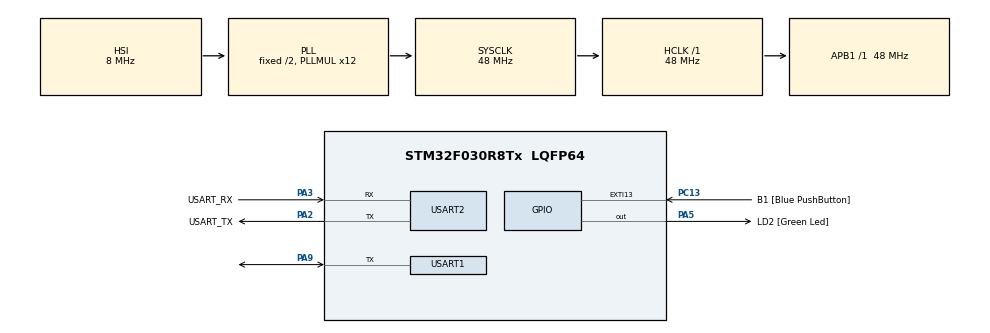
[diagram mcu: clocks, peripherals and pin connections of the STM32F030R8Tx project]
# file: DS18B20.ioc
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Dma.Request0=USART1_RX
Dma.Request1=USART1_TX
Dma.USART1_RX.0.Direction=DMA_PERIPH_TO_MEMORY
Dma.USART1_RX.0.Instance=DMA1_Channel3
Dma.USART1_RX.0.MemDataAlignment=DMA_MDATAALIGN_BYTE
Dma.USART1_RX.0.MemInc=DMA_MINC_ENABLE
Dma.USART1_RX.0.Mode=DMA_NORMAL
Dma.USART1_RX.0.PeriphDataAlignment=DMA_PDATAALIGN_BYTE
Dma.USART1_RX.0.PeriphInc=DMA_PINC_DISABLE
Dma.USART1_RX.0.Priority=DMA_PRIORITY_LOW
Dma.USART1_TX.1.Direction=DMA_MEMORY_TO_PERIPH
Dma.USART1_TX.1.Instance=DMA1_Channel2
Dma.USART1_TX.1.MemDataAlignment=DMA_MDATAALIGN_BYTE
Dma.USART1_TX.1.MemInc=DMA_MINC_ENABLE
Dma.USART1_TX.1.Mode=DMA_NORMAL
Dma.USART1_TX.1.PeriphDataAlignment=DMA_PDATAALIGN_BYTE
Dma.USART1_TX.1.PeriphInc=DMA_PINC_DISABLE
Dma.USART1_TX.1.Priority=DMA_PRIORITY_LOW
Mcu.Family=STM32F0
Mcu.Name=STM32F030R8Tx
Mcu.Package=LQFP64
NVIC.DMA1_Channel2_3_IRQn=true\:0\:0\:false\:false\:true\:false\:true\:true
NVIC.USART1_IRQn=true\:0\:0\:false\:false\:true\:true\:true\:true
PA13.GPIO_Label=TMS
PA13.Mode=Serial_Wire
PA13.Signal=SYS_SWDIO
PA14.GPIO_Label=TCK
PA14.Mode=Serial_Wire
PA14.Signal=SYS_SWCLK
PA2.GPIO_Label=USART_TX
PA2.GPIO_Mode=GPIO_MODE_AF_PP
PA2.GPIO_PuPd=GPIO_NOPULL
PA2.GPIO_Speed=GPIO_SPEED_FREQ_LOW
PA2.Mode=Asynchronous
PA2.Signal=USART2_TX
PA3.GPIO_Label=USART_RX
PA3.GPIO_Mode=GPIO_MODE_AF_PP
PA3.GPIO_PuPd=GPIO_NOPULL
PA3.GPIO_Speed=GPIO_SPEED_FREQ_LOW
PA3.Mode=Asynchronous
PA3.Signal=USART2_RX
PA5.GPIO_Label=LD2 [Green Led]
PA5.GPIO_Mode=GPIO_MODE_OUTPUT_PP
PA5.GPIO_PuPd=GPIO_NOPULL
PA5.GPIO_Speed=GPIO_SPEED_FREQ_LOW
PA5.Signal=GPIO_Output
PA9.Mode=Half_duplex(single_wire_mode)
PA9.Signal=USART1_TX
PC13.GPIO_Label=B1 [Blue PushButton]
PC13.GPIO_ModeDefaultEXTI=GPIO_MODE_IT_FALLING
PC13.Signal=GPXTI13
PC14-OSC32_IN.Signal=RCC_OSC32_IN
PC15-OSC32_OUT.Signal=RCC_OSC32_OUT
PF0-OSC_IN.Mode=HSE-External-Oscillator
PF0-OSC_IN.Signal=RCC_OSC_IN
PF1-OSC_OUT.Mode=HSE-External-Oscillator
PF1-OSC_OUT.Signal=RCC_OSC_OUT
ProjectManager.HeapSize=0x200
ProjectManager.StackSize=0x400
ProjectManager.TargetToolchain=STM32CubeIDE
RCC.AHBFreq_Value=48000000
RCC.APB1Freq_Value=48000000
RCC.APB1TimFreq_Value=48000000
RCC.HCLKFreq_Value=48000000
RCC.PLLMUL=RCC_PLL_MUL12
RCC.SYSCLKFreq_VALUE=48000000
RCC.SYSCLKSource=RCC_SYSCLKSOURCE_PLLCLK
USART1.VirtualMode-Half_duplex(single_wire_mode)=VM_ASYNC
USART2.VirtualMode-Asynchronous=VM_ASYNC
board=NUCLEO-F030R8

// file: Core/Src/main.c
/* USER CODE BEGIN Header */
/**
  ******************************************************************************
  * @file           : main.c
  * @brief          : Main program body
  ******************************************************************************
  * @attention
  *
  * Copyright (c) 2025 STMicroelectronics.
  * All rights reserved.
  *
  * This software is licensed under terms that can be found in the LICENSE file
  * in the root directory of this software component.
  * If no LICENSE file comes with this software, it is provided AS-IS.
  *
  ******************************************************************************
  */
/* USER CODE END Header */
#include "main.h"
#include "dma.h"
#include "usart.h"
#include "gpio.h"

/* USER CODE BEGIN Includes */

#include <stdio.h>

#include "OneWire.h"
#include "DallasTemperature.h"

/* USER CODE END Includes */

/* USER CODE BEGIN PV */
// define structures
OneWire_HandleTypeDef ow;
DallasTemperature_HandleTypeDef dt;

/* USER CODE END PV */

/* USER CODE END PFP */

/* USER CODE BEGIN 0 */

void SystemClock_Config(void);
/* USER CODE BEGIN PFP */

// redirect output of fprint() to UART2
int _write(int file, char *ptr, int len)
{
	HAL_UART_Transmit(&huart2, (uint8_t *) ptr, len, HAL_MAX_DELAY);
	return len;
}

// print device address
void printAddress(CurrentDeviceAddress deviceAddress)
{
	for(uint8_t i = 0; i < 8; i++)
	{
		printf("0x%02X", deviceAddress[i]);
	}
}

/* USER CODE END 0 */

int main(void)
{

  /* MCU Configuration--------------------------------------------------------*/

  /* Reset of all peripherals, Initializes the Flash interface and the Systick. */
  HAL_Init();

  /* Configure the system clock */
  SystemClock_Config();

  /* Initialize all configured peripherals */
  MX_GPIO_Init();
  MX_DMA_Init();
  MX_USART2_UART_Init();
  MX_USART1_UART_Init();
  /* USER CODE BEGIN 2 */
  	  // now printf prints to Serial via UART2 because we redefine _write()
	printf("Serial started at %d baud rate.\r\n", huart2.Init.BaudRate);

	printf("[%8lu] Debug UART2 is OK!\r\n", HAL_GetTick());

	// start One Wire on UATR1
	OW_Begin(&ow, &huart1);
	if(OW_Reset(&ow) == OW_OK)
	{
	  printf("[%8lu] OneWire devices are present :)\r\n", HAL_GetTick());
	}
	else
	{
	  printf("[%8lu] OneWire no devices :(\r\n", HAL_GetTick());
	}

	DT_SetOneWire(&dt, &ow);

	// arrays to hold device address
	CurrentDeviceAddress insideThermometer;

	// locate devices on the bus
	printf("[%8lu] Locating devices...", HAL_GetTick());

	DT_Begin(&dt);

	printf("[%8lu] Found %d devices.\r\n", HAL_GetTick(), DT_GetDeviceCount(&dt));

	if (!DT_GetAddress(&dt, insideThermometer, 0))
	  printf("[%8lu] Unable to find address for Device 0\r\n", HAL_GetTick());

	printf("[%8lu] Device 0 Address: ", HAL_GetTick());
	printAddress(insideThermometer);
	printf("\r\n");

	// set the resolution to 12 bit (Each Dallas/Maxim device is capable of several different resolutions)
	DT_SetResolution(&dt, insideThermometer, 12, true);

	printf("[%8lu] Device 0 Resolution: %d\r\n", HAL_GetTick(), DT_GetResolution(&dt, insideThermometer));

	if (!DT_GetAddress(&dt, insideThermometer, 1))
	  printf("[%8lu] Unable to find address for Device 1\r\n", HAL_GetTick());

	printf("[%8lu] Device 1 Address: ", HAL_GetTick());
	printAddress(insideThermometer);
	printf("\r\n");

	// set the resolution to 12 bit (Each Dallas/Maxim device is capable of several different resolutions)
	DT_SetResolution(&dt, insideThermometer, 12, true);

	printf("[%8lu] Device 1 Resolution: %d\r\n", HAL_GetTick(), DT_GetResolution(&dt, insideThermometer));
	/* USER CODE END 2 */

  /* USER CODE END 2 */

//  /* Infinite loop */
  while (1)
  {

    /* USER CODE BEGIN 3 */

	// call DT_RequestTemperatures(&dt) to issue a global temperature
	// request to all devices on the bus
	printf("[%8lu] Requesting temperatures...", HAL_GetTick());
	DT_RequestTemperatures(&dt); // Send the command to get temperatures
	printf("\r\n[%8lu] DONE\r\n", HAL_GetTick());
	// After we got the temperatures, we can print them here.
	// We use the function ByIndex, and as an example get the temperature from the first sensor only.
	printf("[%8lu] Temperature for the device 1 (index 0) is: %.2f\r\n", HAL_GetTick(), DT_GetTempCByIndex(&dt, 0));
	printf("[%8lu] Temperature for the device 2 (index 1) is: %.2f\r\n", HAL_GetTick(), DT_GetTempCByIndex(&dt, 1));
	HAL_Delay(2000);

  }
  /* USER CODE END 3 */
}

void SystemClock_Config(void)
{
  RCC_OscInitTypeDef RCC_OscInitStruct = {0};
  RCC_ClkInitTypeDef RCC_ClkInitStruct = {0};
  RCC_PeriphCLKInitTypeDef PeriphClkInit = {0};

  /** Initializes the RCC Oscillators according to the specified parameters
  * in the RCC_OscInitTypeDef structure.
  */
  RCC_OscInitStruct.OscillatorType = RCC_OSCILLATORTYPE_HSI;
  RCC_OscInitStruct.HSIState = RCC_HSI_ON;
  RCC_OscInitStruct.HSICalibrationValue = RCC_HSICALIBRATION_DEFAULT;
  RCC_OscInitStruct.PLL.PLLState = RCC_PLL_ON;
  RCC_OscInitStruct.PLL.PLLSource = RCC_PLLSOURCE_HSI;
  RCC_OscInitStruct.PLL.PLLMUL = RCC_PLL_MUL12;
  RCC_OscInitStruct.PLL.PREDIV = RCC_PREDIV_DIV1;
  if (HAL_RCC_OscConfig(&RCC_OscInitStruct) != HAL_OK)
  {
    Error_Handler();
  }

  /** Initializes the CPU, AHB and APB buses clocks
  */
  RCC_ClkInitStruct.ClockType = RCC_CLOCKTYPE_HCLK|RCC_CLOCKTYPE_SYSCLK
                              |RCC_CLOCKTYPE_PCLK1;
  RCC_ClkInitStruct.SYSCLKSource = RCC_SYSCLKSOURCE_PLLCLK;
  RCC_ClkInitStruct.AHBCLKDivider = RCC_SYSCLK_DIV1;
  RCC_ClkInitStruct.APB1CLKDivider = RCC_HCLK_DIV1;

  if (HAL_RCC_ClockConfig(&RCC_ClkInitStruct, FLASH_LATENCY_1) != HAL_OK)
  {
    Error_Handler();
  }
  PeriphClkInit.PeriphClockSelection = RCC_PERIPHCLK_USART1;
  PeriphClkInit.Usart1ClockSelection = RCC_USART1CLKSOURCE_PCLK1;
  if (HAL_RCCEx_PeriphCLKConfig(&PeriphClkInit) != HAL_OK)
  {
    Error_Handler();
  }
}

void Error_Handler(void)
{
  __disable_irq();
  while (1)
  {
  }
}
